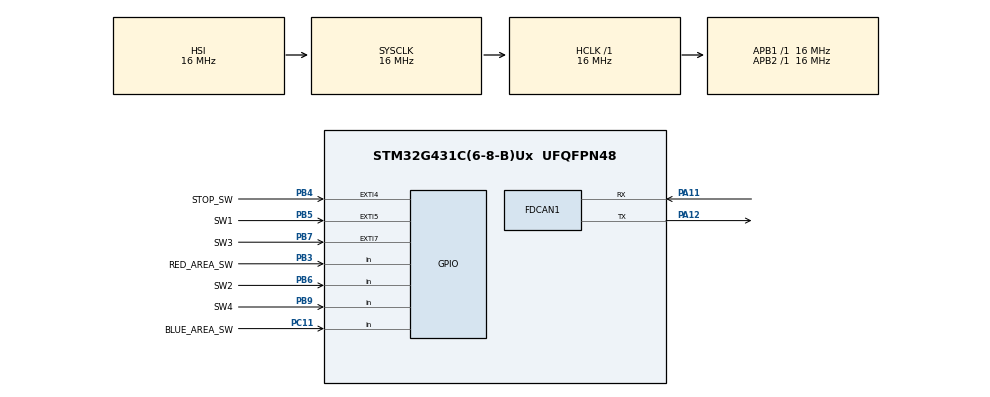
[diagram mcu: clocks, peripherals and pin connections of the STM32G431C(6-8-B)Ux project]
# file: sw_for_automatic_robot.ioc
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FDCAN1.AutoRetransmission=ENABLE
FDCAN1.CalculateBaudRateNominal=1000000
FDCAN1.CalculateTimeBitNominal=1000
FDCAN1.CalculateTimeQuantumNominal=62.5
FDCAN1.DataSyncJumpWidth=16
FDCAN1.DataTimeSeg1=20
FDCAN1.DataTimeSeg2=11
FDCAN1.ExtFiltersNbr=1
FDCAN1.NominalPrescaler=1
FDCAN1.NominalSyncJumpWidth=16
FDCAN1.NominalTimeSeg1=10
FDCAN1.NominalTimeSeg2=5
FDCAN1.ProtocolException=ENABLE
FDCAN1.StdFiltersNbr=1
FDCAN1.TransmitPause=ENABLE
Mcu.Family=STM32G4
Mcu.Name=STM32G431C(6-8-B)Ux
Mcu.Package=UFQFPN48
NVIC.EXTI4_IRQn=true\:0\:0\:false\:false\:true\:true\:true\:true
NVIC.EXTI9_5_IRQn=true\:0\:0\:false\:false\:true\:true\:true\:true
NVIC.FDCAN1_IT0_IRQn=true\:0\:0\:false\:false\:true\:true\:true\:true
NVIC.PriorityGroup=NVIC_PRIORITYGROUP_4
NVIC.TIM2_IRQn=true\:0\:0\:false\:false\:true\:true\:true\:true
NVIC.TIM3_IRQn=true\:0\:0\:false\:false\:true\:true\:true\:true
NVIC.TIM6_DAC_IRQn=true\:0\:0\:false\:false\:true\:true\:true\:true
PA11.Mode=FDCAN_Activate
PA11.Signal=FDCAN1_RX
PA12.Mode=FDCAN_Activate
PA12.Signal=FDCAN1_TX
PA13.Mode=Serial_Wire
PA13.Signal=SYS_JTMS-SWDIO
PA14.Mode=Serial_Wire
PA14.Signal=SYS_JTCK-SWCLK
PB3.GPIO_Label=RED_AREA_SW
PB3.GPIO_PuPd=GPIO_PULLDOWN
PB3.Signal=GPIO_Input
PB4.GPIO_Label=STOP_SW
PB4.GPIO_ModeDefaultEXTI=GPIO_MODE_IT_RISING
PB4.GPIO_PuPd=GPIO_PULLDOWN
PB4.Signal=GPXTI4
PB5.GPIO_Label=SW1
PB5.GPIO_ModeDefaultEXTI=GPIO_MODE_IT_RISING
PB5.GPIO_PuPd=GPIO_PULLDOWN
PB5.Signal=GPXTI5
PB6.GPIO_Label=SW2
PB6.GPIO_PuPd=GPIO_PULLDOWN
PB6.Signal=GPIO_Input
PB7.GPIO_Label=SW3
PB7.GPIO_PuPd=GPIO_PULLDOWN
PB7.Signal=GPXTI7
PB9.GPIO_Label=SW4
PB9.GPIO_PuPd=GPIO_PULLDOWN
PB9.Signal=GPIO_Input
PC11.GPIO_Label=BLUE_AREA_SW
PC11.GPIO_PuPd=GPIO_PULLDOWN
PC11.Signal=GPIO_Input
PF0-OSC_IN.Mode=HSE-External-Oscillator
PF0-OSC_IN.Signal=RCC_OSC_IN
PF1-OSC_OUT.Mode=HSE-External-Oscillator
PF1-OSC_OUT.Signal=RCC_OSC_OUT
ProjectManager.HeapSize=0x200
ProjectManager.StackSize=0x400
ProjectManager.TargetToolchain=MDK-ARM V5.32
RCC.ADC12Freq_Value=16000000
RCC.AHBFreq_Value=16000000
RCC.APB1Freq_Value=16000000
RCC.APB1TimFreq_Value=16000000
RCC.APB2Freq_Value=16000000
RCC.APB2TimFreq_Value=16000000
RCC.CortexFreq_Value=16000000
RCC.EXTERNAL_CLOCK_VALUE=12288000
RCC.HCLKFreq_Value=16000000
RCC.HSE_VALUE=8000000
RCC.HSI48_VALUE=48000000
RCC.HSI_VALUE=16000000
RCC.LSE_VALUE=32768
RCC.PLLM=RCC_PLLM_DIV2
RCC.PLLN=25
RCC.SYSCLKFreq_VALUE=16000000
RCC.USBFreq_Value=100000000
RCC.VCOOutputFreq_Value=200000000
TIM2.PeriodNoDither=1000 - 1
TIM2.Prescaler=16 - 1
TIM3.PeriodNoDither=1000 - 1
TIM3.Prescaler=16 - 1
TIM6.PeriodNoDither=10000-1
TIM6.Prescaler=1600 - 1
VP_SYS_VS_DBSignals.Mode=DisableDeadBatterySignals
VP_TIM2_VS_ClockSourceINT.Mode=Internal
VP_TIM3_VS_ClockSourceINT.Mode=Internal
VP_TIM6_VS_ClockSourceINT.Mode=Enable_Timer
board=custom

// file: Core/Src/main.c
/* USER CODE BEGIN Header */
/**
  ******************************************************************************
  * @file           : main.c
  * @brief          : Main program body
  ******************************************************************************
  * @attention
  *
  * Copyright (c) 2024 STMicroelectronics.
  * All rights reserved.
  *
  * This software is licensed under terms that can be found in the LICENSE file
  * in the root directory of this software component.
  * If no LICENSE file comes with this software, it is provided AS-IS.
  *
  ******************************************************************************
  */
/* USER CODE END Header */
#include "main.h"
#include "fdcan.h"
#include "tim.h"
#include "gpio.h"

/* USER CODE BEGIN Includes */
#include "fdcan_bsp.h"
#include "intereaction.h"
#include "stdbool.h"
/* USER CODE END Includes */

void SystemClock_Config(void);

/* USER CODE BEGIN 0 */
bool vision_reset_1 = false;
bool vision_reset_2 = false;
/* USER CODE END 0 */

int main(void)
{

  /* MCU Configuration--------------------------------------------------------*/

  /* Reset of all peripherals, Initializes the Flash interface and the Systick. */
  HAL_Init();

  /* Configure the system clock */
  SystemClock_Config();

  /* Initialize all configured peripherals */
  MX_GPIO_Init();
  MX_FDCAN1_Init();
  MX_TIM2_Init();
  MX_TIM3_Init();
  MX_TIM6_Init();
  /* USER CODE BEGIN 2 */
  FDCAN_Init(&hfdcan1);
  delay_us_init();
  HAL_TIM_Base_Start_IT(&htim6);
  /* USER CODE END 2 */

  /* Infinite loop */
  /* USER CODE BEGIN WHILE */
  while (1)
  {
     HAL_Delay(1);
    intereaction_scan_sw();
	  while(stop_count != 0 && stop_count <= 100 && switches.stop) {
		intereaction_send_can_message(2);
		delay_us(2);
	  }
	  while(start_count != 0 && switches.start && start_count <= 300) {
		intereaction_send_can_message(1);
		delay_us(2);
	  }
	  if (vision_reset_1) {
		HAL_Delay(50);
		FDCAN_SendData(&hfdcan1, NULL, 0x021, 0);
		  vision_reset_1 = false;
	  }
    /* USER CODE END WHILE */

  }
}

void SystemClock_Config(void)
{
  RCC_OscInitTypeDef RCC_OscInitStruct = {0};
  RCC_ClkInitTypeDef RCC_ClkInitStruct = {0};

  /** Configure the main internal regulator output voltage
  */
  HAL_PWREx_ControlVoltageScaling(PWR_REGULATOR_VOLTAGE_SCALE1);

  /** Initializes the RCC Oscillators according to the specified parameters
  * in the RCC_OscInitTypeDef structure.
  */
  RCC_OscInitStruct.OscillatorType = RCC_OSCILLATORTYPE_HSI;
  RCC_OscInitStruct.HSIState = RCC_HSI_ON;
  RCC_OscInitStruct.HSICalibrationValue = RCC_HSICALIBRATION_DEFAULT;
  RCC_OscInitStruct.PLL.PLLState = RCC_PLL_NONE;
  if (HAL_RCC_OscConfig(&RCC_OscInitStruct) != HAL_OK)
  {
    Error_Handler();
  }

  /** Initializes the CPU, AHB and APB buses clocks
  */
  RCC_ClkInitStruct.ClockType = RCC_CLOCKTYPE_HCLK|RCC_CLOCKTYPE_SYSCLK
                              |RCC_CLOCKTYPE_PCLK1|RCC_CLOCKTYPE_PCLK2;
  RCC_ClkInitStruct.SYSCLKSource = RCC_SYSCLKSOURCE_HSI;
  RCC_ClkInitStruct.AHBCLKDivider = RCC_SYSCLK_DIV1;
  RCC_ClkInitStruct.APB1CLKDivider = RCC_HCLK_DIV1;
  RCC_ClkInitStruct.APB2CLKDivider = RCC_HCLK_DIV1;

  if (HAL_RCC_ClockConfig(&RCC_ClkInitStruct, FLASH_LATENCY_0) != HAL_OK)
  {
    Error_Handler();
  }
}

/* USER CODE BEGIN 4 */
void HAL_GPIO_EXTI_Callback(uint16_t GPIO_Pin)
{
  if (GPIO_Pin == STOP_SW_Pin) {
    if (switches.stop) {
		start_count = 0;
      HAL_TIM_Base_Start_IT(&htim2);
      ack.chassis_config_ack = false;
    } else if (switches.start) {
      HAL_TIM_Base_Start_IT(&htim3);
		stop_count = 0;
    }
  }
  if (GPIO_Pin == SW3_Pin) {
//	FDCAN_SendData(&hfdcan1, NULL, 0x021, 0);
	  vision_reset_1 = true;
  }
}

void HAL_TIM_PeriodElapsedCallback(TIM_HandleTypeDef *htim)
{
  if(htim == &htim3) {
    if (HAL_GPIO_ReadPin(STOP_SW_GPIO_Port, STOP_SW_Pin) == GPIO_PIN_SET) {
      stop_count++;
      if (stop_count > 30) {
//        intereaction_send_can_message(2);
 		switches.stop = true;
		switches.start = false;
     }
      if (stop_count >= 100) {
        stop_count = 0;
        HAL_TIM_Base_Stop_IT(&htim3);
      }
    }
    else {
      stop_count = 0;
      HAL_TIM_Base_Stop_IT(&htim3);
    }
  }

  if(htim == &htim2) {
    if (HAL_GPIO_ReadPin(STOP_SW_GPIO_Port, STOP_SW_Pin) == GPIO_PIN_SET) {
      start_count++;
      if (start_count > 30) {
		switches.stop = false;
		switches.start = true;
//        intereaction_send_can_message(1);
      }
      if (ack.chassis_config_ack || start_count >= 300) {
        start_count = 0;
        HAL_TIM_Base_Stop_IT(&htim2);
      }
    }
    else {
      start_count = 0;
      HAL_TIM_Base_Stop_IT(&htim2);
    }
  }
  if(htim == &htim6) {
	  uint8_t temp = 0x00;
    if (switches.in_blue) {
		temp = 0x01;
		FDCAN_SendData(&hfdcan1, &temp, 0x005, 1);
	}
    else if (switches.in_red) {
		temp = 0x02;
		FDCAN_SendData(&hfdcan1, &temp, 0x005, 1);
	}

  }
}

void HAL_FDCAN_RxFifo0Callback(FDCAN_HandleTypeDef *hfdcan,uint32_t RxFifo0ITs)
{
	if(hfdcan->Instance == hfdcan1.Instance)
  {
	FDCAN_RxHeaderTypeDef Rxhead;
	  uint8_t Rxdata[16];
    HAL_FDCAN_GetRxMessage(&hfdcan1, FDCAN_RX_FIFO0, &Rxhead, Rxdata);
    intereacion_can_decode (Rxhead.Identifier, Rxdata);
  }
}
/* USER CODE END 4 */

void Error_Handler(void)
{
  __disable_irq();
  while (1)
  {
  }
}
